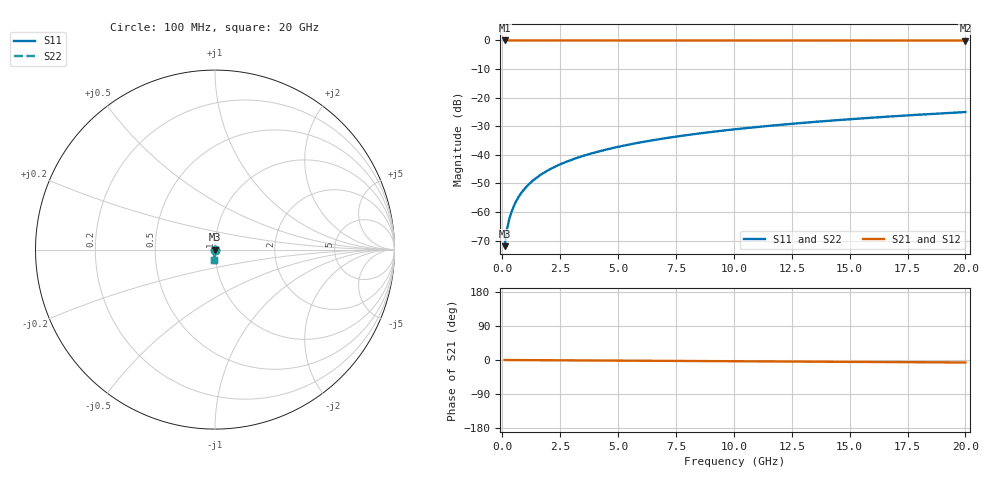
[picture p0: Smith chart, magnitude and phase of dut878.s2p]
! Touchstone file exported from HFSS 2026.1.0
!  File:  C:/ffzhzh/LocalFiles/Ansys_Project_Files/temp_train_TSV_878_1783185715_55132.aedt
!  Generated:  01:23:10 AM Jul  5, 2026
!  Design:  TSV
!  Project:  temp_train_TSV_878_1783185715_55132
! Variables:
!  h_bsmrdl = 2um
!  h_ox = 20um
!  h_rdl = 5um
!  h_sub = 58.06um
!  h_tmrdl = 5um
!  h_tsv = 58.06um
!  h_via = 3um
!  l_bsmrdl = 300um
!  l_sub = 427.8um
!  l_tmrdl = 200um
!  m_sub = 200um
!  pitch = 36.8um
!  r_tsv = 13.9um
!  s_tmrdl = 10um
!  w_bsmrdl = 18um
!  w_sub = 500um
!  w_tmrdl = 12um
!  x_tsv_center1 = 206um
!  x_tsv_center2 = 524um
!  x_tsv_center3 = 736um
!  x_tsv_center4 = 1054um
!  x_tsv_center5 = 1266um
!  x_tsv_center6 = 1584um
# GHz S MA R 50.000000
! Terminal data exported
! Port[1] = TSV1_1_T1
! Port[2] = TSV1_1_T2
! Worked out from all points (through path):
!   200 points, 100 MHz to 20 GHz, reference 50 ohm
!   highest |S21| = 0.00 dB at 100 MHz (marker M1); lowest = 0.0 dB at 20 GHz (marker M2)
!   lowest |S11| = -71.9 dB at 100 MHz (marker M3), VSWR 1.00, Z = 50 - j0.0243 ohm
!   |S11| at or under -10 dB: start of sweep to end of sweep
!   |S22| runs from -71.9 to -25.0 dB; largest |S21 - S12| = 2.1e-15
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0.1  0.000253 -73.9  0.9999 -0.0  0.9999 -0.0  0.000253 -73.9
! Gamma 0 0 0 0
! Port Impedance 50 0 50 0
0.2  0.0004965 -80.4  0.9999 -0.1  0.9999 -0.1  0.0004965 -80.4
0.3  0.0007489 -82.3  0.9999 -0.1  0.9999 -0.1  0.0007489 -82.3
0.4  0.001008 -83.2  0.9999 -0.1  0.9999 -0.1  0.001008 -83.2
0.5  0.001274 -83.7  0.9999 -0.2  0.9999 -0.2  0.001274 -83.7
0.7  0.001818 -84.5  0.9998 -0.2  0.9998 -0.2  0.001818 -84.5
0.8  0.002093 -84.8  0.9998 -0.3  0.9998 -0.3  0.002093 -84.8
1  0.002648 -85.5  0.9998 -0.3  0.9998 -0.3  0.002648 -85.5
1.2  0.003205 -86.0  0.9997 -0.4  0.9997 -0.4  0.003205 -86.0
1.4  0.003761 -86.5  0.9997 -0.5  0.9997 -0.5  0.003761 -86.5
1.7  0.004597 -87.0  0.9997 -0.6  0.9997 -0.6  0.004597 -87.0
2  0.005431 -87.5  0.9997 -0.7  0.9997 -0.7  0.005431 -87.5
2.7  0.007378 -88.2  0.9996 -0.9  0.9996 -0.9  0.007378 -88.2
3.5  0.009606 -88.9  0.9996 -1.2  0.9996 -1.2  0.009606 -88.9
4.2  0.01156 -89.3  0.9995 -1.4  0.9995 -1.4  0.01156 -89.3
5  0.0138 -89.7  0.9994 -1.6  0.9994 -1.6  0.0138 -89.7
6.8  0.01885 -90.6  0.9993 -2.2  0.9993 -2.2  0.01885 -90.6
8.3  0.02307 -91.2  0.9991 -2.7  0.9991 -2.7  0.02307 -91.2
10.1  0.02813 -92.0  0.9989 -3.3  0.9989 -3.3  0.02813 -92.0
13.4  0.03742 -93.2  0.9985 -4.4  0.9985 -4.4  0.03742 -93.2
16.7  0.0467 -94.4  0.9981 -5.5  0.9981 -5.5  0.0467 -94.4
20  0.05597 -95.6  0.9975 -6.5  0.9975 -6.5  0.05597 -95.6
